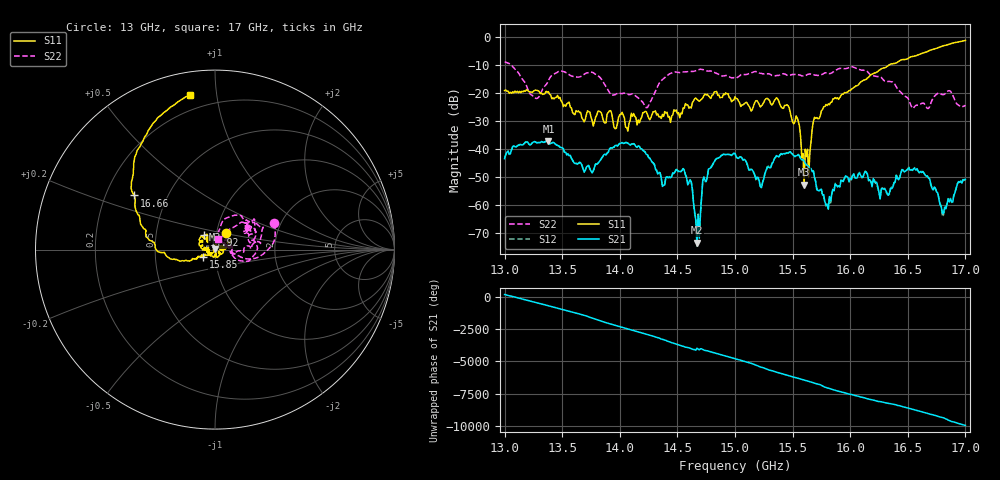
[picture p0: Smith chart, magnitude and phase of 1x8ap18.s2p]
!Keysight Technologies,P9374A,MY57211807,A.19.30.04
!Date: Friday, May 08, 2026 14:33:52
!Correction: S11(C  2-Port  )
!S21(C  2-Port  )
!S12(C  2-Port  )
!S22(C  2-Port  )
!S2P File: Measurements: S11, S21, S12, S22:
# Hz S  dB  R 50
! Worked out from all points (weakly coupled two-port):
!   401 points, 13 GHz to 17 GHz, reference 50 ohm
!   highest |S21| = -37.25 dB at 13.38 GHz (marker M1); lowest = -73.5 dB at 14.67 GHz (marker M2)
!   lowest |S11| = -52.8 dB at 15.6 GHz (marker M3), VSWR 1.00, Z = 49.8 + j0.167 ohm
!   |S11| at or under -10 dB: start of sweep to 16.34 GHz
!   |S22| runs from -25.5 to -8.9 dB; largest |S21 - S12| = 0.00043
!   S11 on the Smith chart (normalised r, x): 13 GHz: 1.11, +0.21; 14.92 GHz: 0.88, +0.14; 15.85 GHz: 0.87, -0.07; 16.66 GHz: 0.32, +0.28; 17 GHz: 0.12, +0.84
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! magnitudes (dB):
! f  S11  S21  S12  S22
! 13 GHz  -19.1  -43.5  -43.4  -8.9
! 13.27 GHz  -18.9  -37.6  -37.6  -21.9
! 13.38 GHz  -19.5  -37.2  -37.2  -15.6
! 13.67 GHz  -28.8  -45.7  -45.7  -13.9
! 14.04 GHz  -28.9  -38.0  -37.9  -20.0
! 14.24 GHz  -27.7  -42.0  -42.0  -25.1
! 14.34 GHz  -28.6  -48.5  -48.3  -16.7
! 14.56 GHz  -25.4  -47.7  -47.5  -12.4
! 14.67 GHz  -22.3  -73.5  -74.8  -11.9
! 14.74 GHz  -20.3  -51.3  -51.7  -11.9
! 14.92 GHz  -19.9  -42.0  -42.0  -13.7
! 15 GHz  -21.3  -41.6  -41.7  -14.5
! 15.23 GHz  -24.5  -53.8  -53.9  -13.0
! 15.45 GHz  -24.2  -41.4  -41.3  -13.6
! 15.6 GHz  -52.8  -44.3  -44.2  -13.9
! 15.67 GHz  -32.9  -48.1  -47.8  -13.3
! 15.79 GHz  -24.1  -60.0  -60.5  -12.8
! 15.85 GHz  -22.1  -54.5  -54.2  -12.5
! 16.34 GHz  -9.9  -55.9  -56.3  -15.8
! 16.66 GHz  -5.3  -49.8  -49.7  -25.0
! 16.81 GHz  -3.1  -63.1  -63.6  -20.6
! 17 GHz  -1.2  -50.9  -50.7  -24.4
